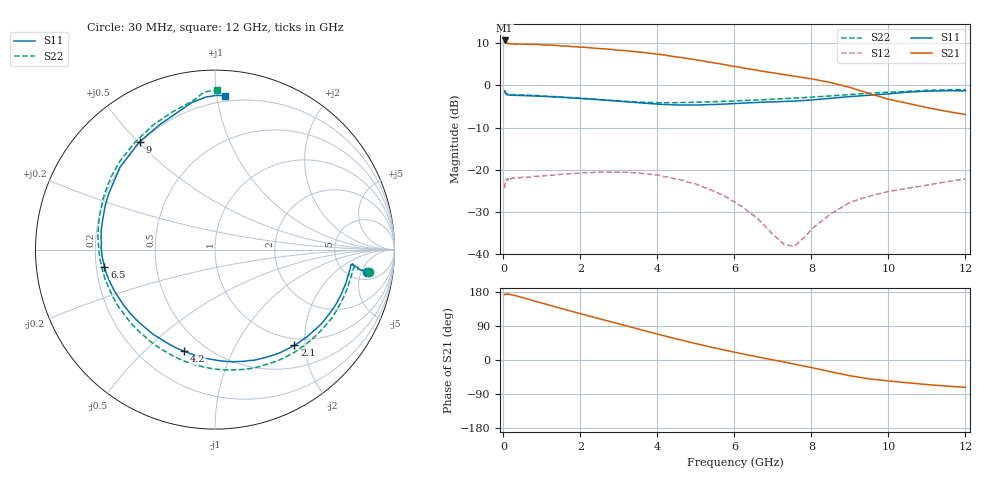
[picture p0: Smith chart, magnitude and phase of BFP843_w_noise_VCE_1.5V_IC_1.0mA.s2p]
! Infineon Technologies  Discrete & RF Semiconductors
! BFP843
! VCE =  1.5 V,  IC =  1.0 mA
! Common Emitter S-Parameters:  Aug 2013
# GHz  S  MA  R  50
!  f  S11  S21  S12  S22
! GHz  MAG  ANG  MAG  ANG  MAG  ANG  MAG  ANG
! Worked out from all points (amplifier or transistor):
!   103 points, 30 MHz to 12 GHz, reference 50 ohm
!   highest |S21| = 10.6 dB at 30 MHz (marker M1)
!   |S21| within 3 dB of that: start of sweep to 3.798 GHz
!   unconditionally stable (mu >= 1): 93.17 MHz to 1.384 GHz; 2.878 GHz to end of sweep
!   at 400 MHz: K = 1.04, MAG = 14.6 dB, |S12| = -21.9 dB
!   at 3.7 GHz: K = 1.09, MAG = 12.5 dB, |S12| = -20.9 dB
!   at 12 GHz: K = 1.03, MAG = 6.6 dB, |S12| = -22.2 dB
!   lowest NFmin = 1.52 dB at 450 MHz
!   S11 on the Smith chart (normalised r, x): 30 MHz: 7.00, -6.46; 2.1 GHz: 0.87, -1.79; 4.2 GHz: 0.38, -0.67; 6.5 GHz: 0.23, -0.07; 9 GHz: 0.19, +0.51; 12 GHz: 0.16, +1.05
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0.03  0.8575 -8.2  3.385 172.5  0.0606 40.2  0.8692 -8.1
0.07  0.7834 -6.8  3.142 173.9  0.0763 20.2  0.801 -7.3
0.13  0.7687 -6.2  3.112 174.0  0.0796 9.8  0.7798 -7.2
0.9  0.7423 -21.5  3.036 153.0  0.0841 -1.1  0.7545 -29.9
1.6  0.7157 -38.0  2.912 133.2  0.0889 -7.0  0.7227 -52.8
2.1  0.6929 -50.3  2.815 119.4  0.0927 -12.6  0.6981 -69.2
2.6  0.6681 -62.7  2.699 106.0  0.0941 -19.6  0.6722 -85.4
3.2  0.6363 -78.5  2.559 89.9  0.0935 -28.6  0.6443 -105.5
3.6  0.6159 -89.5  2.454 79.1  0.0905 -35.8  0.6301 -118.9
4.1  0.5946 -104.0  2.299 65.8  0.0846 -44.8  0.6213 -135.1
4.2  0.5912 -107.0  2.27 63.3  0.0826 -46.7  0.6218 -138.2
5  0.5836 -131.8  2.004 43.3  0.068 -60.4  0.6301 -160.1
5.6  0.5958 -148.8  1.802 29.4  0.0523 -68.9  0.642 -174.5
6.1  0.6099 -161.4  1.647 18.5  0.0388 -73.1  0.655 174.4
6.5  0.623 -171.3  1.528 10.3  0.0289 -72.9  0.6659 166.0
7.3  0.6438 169.6  1.33 -5.6  0.013 -39.4  0.6939 150.4
7.5  0.648 164.7  1.289 -9.6  0.0125 -19.5  0.7016 146.6
8.5  0.7004 139.0  1.075 -31.0  0.0301 21.9  0.7475 126.3
9  0.7339 124.9  0.942 -41.5  0.0412 18.0  0.7762 116.0
9.5  0.7614 113.7  0.8 -49.8  0.0488 14.1  0.8029 107.2
10.5  0.8291 99.1  0.611 -60.1  0.0605 6.2  0.8481 97.1
12  0.8589 86.3  0.45 -72.2  0.078 -5.2  0.8882 89.4
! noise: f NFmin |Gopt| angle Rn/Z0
0.45  1.52  0.46  10  0.26
0.9  1.58  0.47  20  0.28
1.5  1.7  0.47  32  0.31
1.9  1.8  0.47  40  0.39
2.4  1.95  0.45  51  0.48
3.5  2.01  0.41  76  0.69
5.5  2.21  0.34  145  0.83
10  4.25  0.67  -90  0.89
